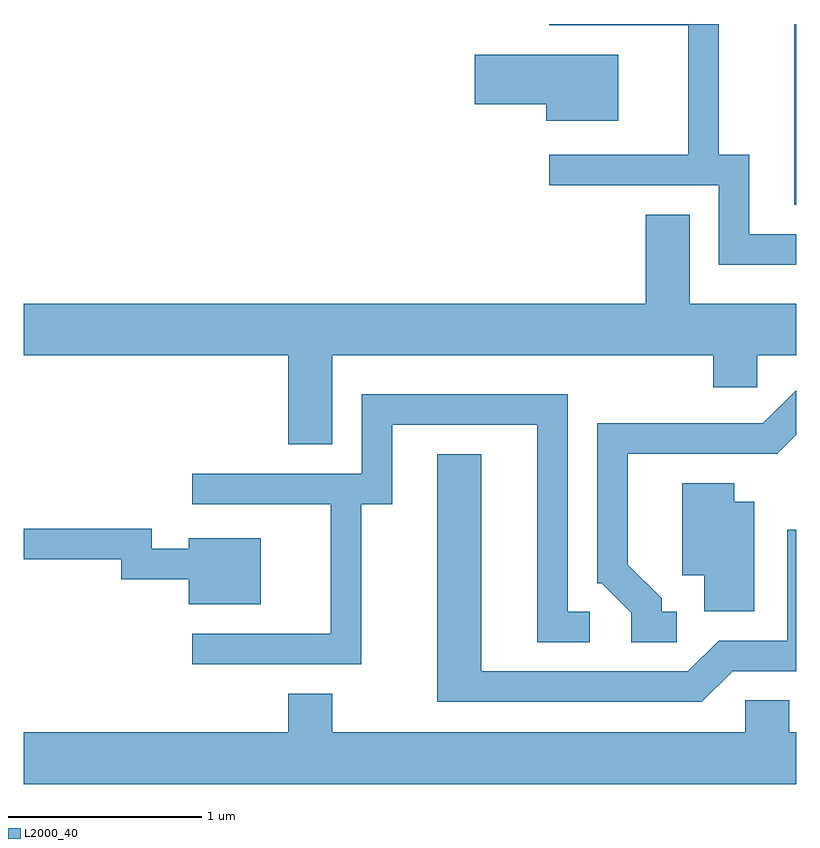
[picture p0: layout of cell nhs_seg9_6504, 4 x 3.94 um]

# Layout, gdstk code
import gdstk
lib = gdstk.Library(unit=1e-6, precision=1e-09)
def R(c, l, rs):  # rectangles x0, y0, x1, y1
    for r in rs: c.add(gdstk.rectangle(r[:2], r[2:], *l))
def P(c, l, *ps):  # polygons
    for p in ps: c.add(gdstk.Polygon(p, *l))
L2000_40 = (2000, 40)

nhs_seg9_6504 = lib.new_cell('nhs_seg9_6504')
R(nhs_seg9_6504, L2000_40, [(381.601,1981.496,381.611,1982.432)])
P(nhs_seg9_6504, L2000_40, [(381.611,1981.344),(381.369,1981.344),(381.369,1981.754),(381.209,1981.754),(381.209,1982.432),(380.333,1982.432),(380.333,1982.426),(381.051,1982.426),(381.051,1981.754),(380.333,1981.754),(380.333,1981.596),(381.211,1981.596),(381.211,1981.186),(381.611,1981.186)],
  [(380.689,1982.274),(379.946,1982.274),(379.946,1982.016),(380.316,1982.016),(380.316,1981.931),(380.689,1981.931)],
  [(379.209,1980.716),(381.181,1980.716),(381.181,1980.551),(381.409,1980.551),(381.409,1980.716),(381.611,1980.716),(381.611,1980.984),(381.059,1980.984),(381.059,1981.444),(380.831,1981.444),(380.831,1980.984),(377.611,1980.984),(377.611,1980.716),(378.981,1980.716),(378.981,1980.256),(379.209,1980.256)],
  [(380.993,1979.389),(380.914,1979.389),(380.914,1979.457),(380.739,1979.632),(380.739,1980.206),(381.512,1980.206),(381.611,1980.305),(381.611,1980.536),(381.439,1980.364),(380.581,1980.364),(380.581,1979.536),(380.604,1979.536),(380.756,1979.384),(380.756,1979.231),(380.993,1979.231)],
  [(379.359,1979.946),(379.519,1979.946),(379.519,1980.356),(380.271,1980.356),(380.271,1979.231),(380.543,1979.231),(380.543,1979.389),(380.429,1979.389),(380.429,1980.514),(379.361,1980.514),(379.361,1980.104),(378.483,1980.104),(378.483,1979.946),(379.201,1979.946),(379.201,1979.274),(378.483,1979.274),(378.483,1979.116),(379.359,1979.116)],
  [(381.282,1979.081),(381.611,1979.081),(381.611,1979.813),(381.566,1979.813),(381.566,1979.239),(381.209,1979.239),(381.049,1979.079),(379.979,1979.079),(379.979,1980.204),(379.751,1980.204),(379.751,1978.921),(381.122,1978.921)],
  [(381.394,1979.959),(381.289,1979.959),(381.289,1980.054),(381.021,1980.054),(381.021,1979.576),(381.136,1979.576),(381.136,1979.391),(381.394,1979.391)],
  [(378.839,1979.769),(378.466,1979.769),(378.466,1979.714),(378.274,1979.714),(378.274,1979.819),(377.611,1979.819),(377.611,1979.661),(378.116,1979.661),(378.116,1979.556),(378.466,1979.556),(378.466,1979.426),(378.839,1979.426)],
  [(381.611,1978.764),(381.574,1978.764),(381.574,1978.929),(381.346,1978.929),(381.346,1978.764),(379.209,1978.764),(379.209,1978.964),(378.981,1978.964),(378.981,1978.764),(377.611,1978.764),(377.611,1978.496),(381.611,1978.496)])

lib.write_gds('nhs_seg9_6504.gds')
